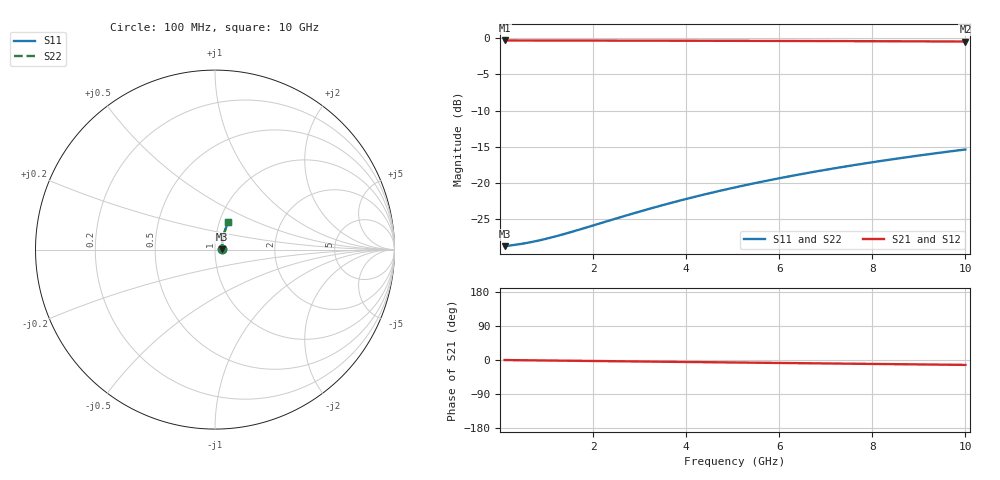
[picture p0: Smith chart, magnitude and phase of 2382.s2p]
# Hz S RI R 50.00
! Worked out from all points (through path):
!   100 points, 100 MHz to 10 GHz, reference 50 ohm
!   highest |S21| = -0.32 dB at 100 MHz (marker M1); lowest = -0.5 dB at 10 GHz (marker M2)
!   group delay of S21, straight-line fit = 3.59 ps
!   lowest |S11| = -28.7 dB at 100 MHz (marker M3), VSWR 1.08, Z = 53.8 + j0.173 ohm
!   |S11| at or under -10 dB: start of sweep to end of sweep
!   |S22| runs from -28.7 to -15.4 dB; largest |S21 - S12| = 0
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1e8  0.0367 0.00161  0.9633 -0.00219  0.9633 -0.00219  0.0367 0.00161
3e8  0.0371 0.00482  0.9629 -0.00657  0.9629 -0.00657  0.0371 0.00482
5e8  0.0374 0.00803  0.9626 -0.0109  0.9626 -0.0109  0.0374 0.00803
7e8  0.0377 0.0112  0.9623 -0.0153  0.9623 -0.0153  0.0377 0.0112
9e8  0.038 0.0144  0.962 -0.0197  0.962 -0.0197  0.038 0.0144
1.1e9  0.0383 0.0176  0.9617 -0.024  0.9617 -0.024  0.0383 0.0176
1.3e9  0.0385 0.0208  0.9614 -0.0284  0.9614 -0.0284  0.0385 0.0208
1.8e9  0.0393 0.0288  0.9606 -0.0393  0.9606 -0.0393  0.0393 0.0288
2.7e9  0.0411 0.0431  0.9587 -0.0588  0.9587 -0.0588  0.0411 0.0431
3.4e9  0.0429 0.0542  0.9569 -0.074  0.9569 -0.074  0.0429 0.0542
3.8e9  0.044 0.0605  0.9557 -0.0826  0.9557 -0.0826  0.044 0.0605
4.2e9  0.0453 0.0667  0.9544 -0.0912  0.9544 -0.0912  0.0453 0.0667
4.6e9  0.0466 0.0729  0.953 -0.0998  0.953 -0.0998  0.0466 0.0729
5.1e9  0.0485 0.0807  0.9511 -0.1104  0.9511 -0.1104  0.0485 0.0807
5.5e9  0.05 0.0869  0.9494 -0.1189  0.9494 -0.1189  0.05 0.0869
5.9e9  0.0517 0.093  0.9476 -0.1274  0.9476 -0.1274  0.0517 0.093
6.3e9  0.0535 0.0991  0.9457 -0.1358  0.9457 -0.1358  0.0535 0.0991
6.7e9  0.0555 0.1051  0.9437 -0.1442  0.9437 -0.1442  0.0555 0.1051
7.5e9  0.0596 0.1171  0.9394 -0.1608  0.9394 -0.1608  0.0596 0.1171
8.4e9  0.0647 0.1303  0.934 -0.1793  0.934 -0.1793  0.0647 0.1303
9.2e9  0.0697 0.1418  0.9288 -0.1955  0.9288 -0.1955  0.0697 0.1418
1e10  0.0751 0.1531  0.9231 -0.2116  0.9231 -0.2116  0.0751 0.1531
